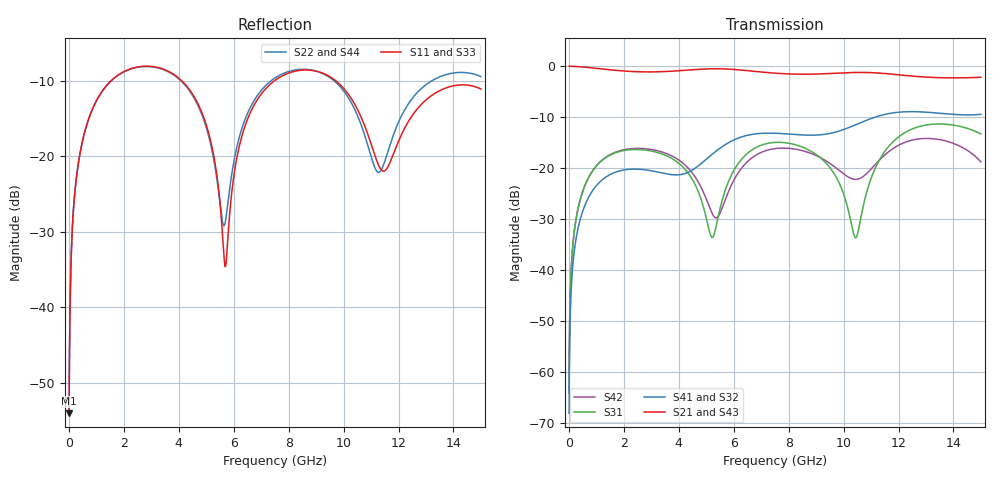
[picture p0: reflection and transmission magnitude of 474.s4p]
! Created with skrf 1.8.0 (http://scikit-rf.org).
# GHz S RI R 50.0
!freq ReS11 ImS11 ReS12 ImS12 ReS13 ImS13
! ReS14 ImS14
! ReS21 ImS21 ReS22 ImS22 ReS23 ImS23
! ReS24 ImS24
! ReS31 ImS31 ReS32 ImS32 ReS33 ImS33
! ReS34 ImS34
! ReS41 ImS41 ReS42 ImS42 ReS43 ImS43
! ReS44 ImS44
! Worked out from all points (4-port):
!   2499 points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, 5 MHz to 15 GHz, reference 50 ohm
!   strongest paths, dB at 5 MHz, 3.476 GHz, 7.19 GHz, 11.1 GHz, 15 GHz:
!     S21: 0.0, -1.1, -1.3, -1.3, -2.2
!     S43: 0.0, -1.1, -1.3, -1.3, -2.2
!     S41: -68.0, -21.0, -13.1, -10.1, -9.5
!     S32: -68.0, -21.0, -13.1, -10.1, -9.4
!     S31: -64.1, -17.4, -15.2, -20.7, -13.3
!     S42: -64.1, -17.0, -16.5, -19.6, -18.8
!   lowest |S11| = -54.0 dB at 5 MHz (marker M1), VSWR 1.00, Z = 50.2 + j0.121 ohm
!   |S11| at or under -10 dB: start of sweep to 1.531 GHz; 4.107 GHz to 7.482 GHz (3.375 GHz wide, 58.2 % of centre); 9.716 GHz to end of sweep
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0.005  0.00158 0.00121  0.9984 -0.00309  7.9e-05 0.000617  -7.68e-05 -0.000388
       0.9984 -0.00309  0.00158 0.00121  -7.68e-05 -0.000388  7.91e-05 0.000617
       7.9e-05 0.000617  -7.68e-05 -0.000388  0.00158 0.00121  0.9984 -0.00309
       -7.68e-05 -0.000388  7.91e-05 0.000617  0.9984 -0.00309  0.00158 0.00121
0.3126303  0.0227 0.0796  0.9691 -0.1922  0.00998 0.0368  -0.0085 -0.0229
           0.9691 -0.1922  0.0226 0.0796  -0.0085 -0.0229  0.0104 0.0367
           0.00998 0.0368  -0.0085 -0.0229  0.0227 0.0796  0.9691 -0.1922
           -0.0085 -0.0229  0.0104 0.0367  0.9691 -0.1922  0.0226 0.0796
1.569404  0.2647 0.1816  0.5642 -0.7214  0.1204 0.0656  -0.088 -0.0087
          0.5642 -0.7214  0.2629 0.1827  -0.088 -0.00866  0.1259 0.0584
          0.1204 0.0656  -0.088 -0.00866  0.2646 0.1816  0.5643 -0.7214
          -0.088 -0.0087  0.1259 0.0584  0.5643 -0.7214  0.2629 0.1827
5.696123  0.0186 -2.57e-05  -0.9367 -0.0439  0.0351 0.0504  -0.00358 0.1704
          -0.9367 -0.0439  0.0355 0.011  -0.0026 0.1703  -0.0213 0.0446
          0.0351 0.0504  -0.0026 0.1703  0.0204 0.000239  -0.9367 -0.0439
          -0.00358 0.1704  -0.0213 0.0446  -0.9367 -0.0439  0.0336 0.0112
8.822426  0.3701 -0.0293  0.0241 0.8335  0.1156 -0.0892  0.2019 -0.0591
          0.0241 0.8335  0.3703 -0.0468  0.2014 -0.0603  0.1084 -0.0875
          0.1156 -0.0892  0.2014 -0.0603  0.3711 -0.0319  0.024 0.833
          0.2019 -0.0591  0.1084 -0.0875  0.024 0.833  0.3717 -0.0443
11.5298  0.081 0.00228  0.8438 0.038  0.0622 0.1358  0.00433 -0.3374
         0.8438 0.038  0.0885 0.0379  0.00149 -0.3373  -0.0322 0.133
         0.0622 0.1358  0.00149 -0.3373  0.0813 -0.00069  0.8438 0.0388
         0.00433 -0.3374  -0.0322 0.133  0.8438 0.0388  0.0881 0.0363
15  0.2727 -0.0596  -0.1308 -0.7657  0.0926 -0.1957  -0.3199 0.1053
    -0.1308 -0.7657  0.3148 -0.1214  -0.3189 0.1088  0.0931 -0.0679
    0.0926 -0.1957  -0.3189 0.1088  0.2741 -0.0631  -0.1304 -0.765
    -0.3199 0.1053  0.0931 -0.0679  -0.1304 -0.765  0.3182 -0.1189
